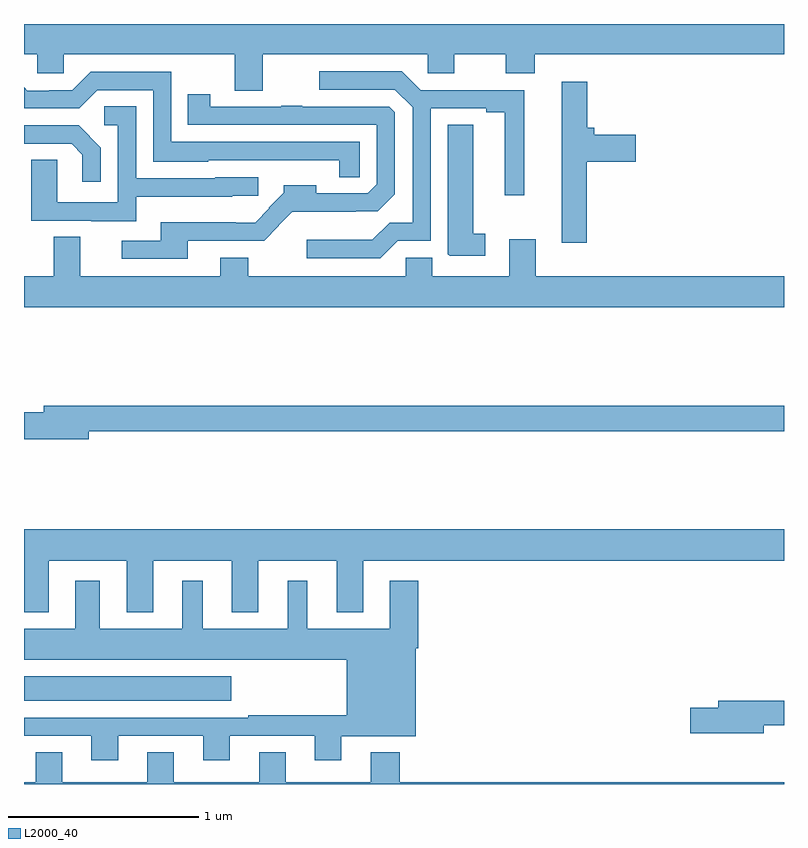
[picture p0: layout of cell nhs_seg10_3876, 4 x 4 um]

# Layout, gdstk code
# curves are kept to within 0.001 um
import gdstk
lib = gdstk.Library(unit=1e-6, precision=1e-09)
def R(c, l, rs):  # rectangles x0, y0, x1, y1
    for r in rs: c.add(gdstk.rectangle(r[:2], r[2:], *l))
def P(c, l, *ps):  # polygons
    for p in ps: c.add(gdstk.Polygon(p, *l))
L2000_40 = (2000, 40)

nhs_seg10_3876 = lib.new_cell('nhs_seg10_3876')
R(nhs_seg10_3876, L2000_40, [(325,1272.938,326.092,1273.066)])
P(nhs_seg10_3876, L2000_40, [(326.257,1276.34),(327.126,1276.34),(327.126,1276.242),(327.265,1276.242),(327.265,1276.34),(327.536,1276.34),(327.536,1276.241),(327.689,1276.241),(327.689,1276.34),(329,1276.34),(329,1276.5),(325,1276.5),(325,1276.34),(325.071,1276.34),(325.071,1276.242),(325.209,1276.242),(325.209,1276.34),(326.11,1276.34),(326.11,1276.15),(326.257,1276.15)],
  [(326.967,1275.36),(327.141,1275.36),(327.141,1276.056),(327.434,1276.056),(327.434,1276.036),(327.53,1276.036),(327.53,1275.6),(327.634,1275.6),(327.634,1276.152),(327.088,1276.152),(326.989,1276.251),(326.553,1276.251),(326.553,1276.155),(326.952,1276.155),(327.045,1276.062),(327.045,1275.455),(326.924,1275.455),(326.833,1275.364),(326.487,1275.364),(326.487,1275.267),(326.874,1275.267)],
  [(326.766,1275.879),(325.776,1275.879),(325.776,1276.248),(325.35,1276.248),(325.254,1276.152),(325.134,1276.152),(325.134,1276.149),(325.017,1276.149),(325,1276.166),(325,1276.056),(325.29,1276.056),(325.386,1276.152),(325.68,1276.152),(325.68,1275.776),(325.971,1275.776),(325.971,1275.783),(326.658,1275.782),(326.658,1275.694),(326.766,1275.694)],
  [(327.962,1275.776),(328.219,1275.776),(328.219,1275.918),(328.001,1275.918),(328.001,1275.954),(327.965,1275.954),(327.965,1276.195),(327.83,1276.195),(327.83,1275.348),(327.962,1275.348)],
  [(325.861,1275.36),(326.265,1275.36),(326.341,1275.437),(326.339,1275.439),(326.413,1275.513),(326.747,1275.512),(326.747,1275.514),(326.863,1275.514),(326.952,1275.603),(326.952,1276.035),(326.922,1276.065),(326.465,1276.065),(326.465,1276.07),(326.353,1276.07),(326.353,1276.065),(325.98,1276.065),(325.98,1276.129),(325.861,1276.129),(325.861,1275.969),(326.856,1275.969),(326.856,1275.657),(326.808,1275.609),(326.539,1275.609),(326.539,1275.652),(326.368,1275.652),(326.368,1275.613),(326.289,1275.534),(326.292,1275.531),(326.216,1275.455),(326.114,1275.455),(326.114,1275.457),(325.721,1275.457),(325.721,1275.36),(325.515,1275.36),(325.515,1275.264),(325.861,1275.264)],
  [(325.591,1275.59),(326.097,1275.59),(326.097,1275.597),(326.232,1275.597),(326.232,1275.693),(326.007,1275.693),(326.007,1275.687),(325.59,1275.687),(325.59,1276.067),(325.422,1276.067),(325.422,1275.966),(325.494,1275.966),(325.494,1275.561),(325.176,1275.561),(325.176,1275.785),(325.037,1275.785),(325.037,1275.465),(325.355,1275.465),(325.355,1275.461),(325.591,1275.461)],
  [(327.427,1275.395),(327.364,1275.395),(327.364,1275.971),(327.23,1275.971),(327.23,1275.289),(327.24,1275.279),(327.427,1275.279)],
  [(325.404,1275.85),(325.288,1275.966),(325,1275.966),(325,1275.87),(325.25,1275.87),(325.307,1275.813),(325.307,1275.669),(325.404,1275.669)],
  [(329,1275.172),(327.694,1275.172),(327.694,1275.367),(327.554,1275.367),(327.554,1275.172),(327.148,1275.172),(327.148,1275.27),(327.009,1275.27),(327.009,1275.172),(326.181,1275.172),(326.181,1275.271),(326.033,1275.271),(326.033,1275.172),(325.297,1275.172),(325.297,1275.38),(325.157,1275.38),(325.157,1275.172),(325,1275.172),(325,1275.008),(329,1275.008)],
  [(325.342,1274.356),(329,1274.356),(329,1274.492),(325.103,1274.492),(325.103,1274.456),(325,1274.456),(325,1274.314),(325.342,1274.314)],
  [(325.129,1273.676),(325.541,1273.676),(325.541,1273.403),(325.681,1273.403),(325.681,1273.676),(326.093,1273.676),(326.093,1273.403),(326.233,1273.403),(326.233,1273.676),(326.645,1273.676),(326.645,1273.403),(326.785,1273.403),(326.785,1273.676),(329,1273.676),(329,1273.84),(325,1273.84),(325,1273.403),(325.129,1273.403)],
  [(325.495,1272.753),(325.943,1272.753),(325.943,1272.624),(326.083,1272.624),(326.083,1272.753),(326.531,1272.753),(326.531,1272.624),(326.671,1272.624),(326.671,1272.752),(327.061,1272.752),(327.061,1273.214),(327.074,1273.214),(327.074,1273.57),(326.924,1273.57),(326.924,1273.318),(326.491,1273.318),(326.491,1273.57),(326.387,1273.57),(326.387,1273.318),(325.942,1273.318),(325.942,1273.57),(325.832,1273.57),(325.832,1273.318),(325.399,1273.318),(325.399,1273.57),(325.271,1273.57),(325.271,1273.318),(325,1273.318),(325,1273.154),(326.699,1273.154),(326.699,1272.862),(326.179,1272.862),(326.179,1272.849),(325,1272.849),(325,1272.753),(325.355,1272.753),(325.355,1272.624),(325.495,1272.624)],
  [(328.894,1272.81),(329,1272.81),(329,1272.938),(328.655,1272.938),(328.655,1272.902),(328.506,1272.902),(328.506,1272.767),(328.894,1272.767)],
  [(329,1272.508),(326.978,1272.508),(326.978,1272.667),(326.825,1272.667),(326.825,1272.508),(326.377,1272.508),(326.377,1272.668),(326.237,1272.668),(326.237,1272.508),(325.789,1272.508),(325.789,1272.668),(325.649,1272.668),(325.649,1272.508),(325.201,1272.508),(325.201,1272.668),(325.061,1272.668),(325.061,1272.508),(325,1272.508),(325,1272.5),(329,1272.5)])

lib.write_gds('nhs_seg10_3876.gds')
